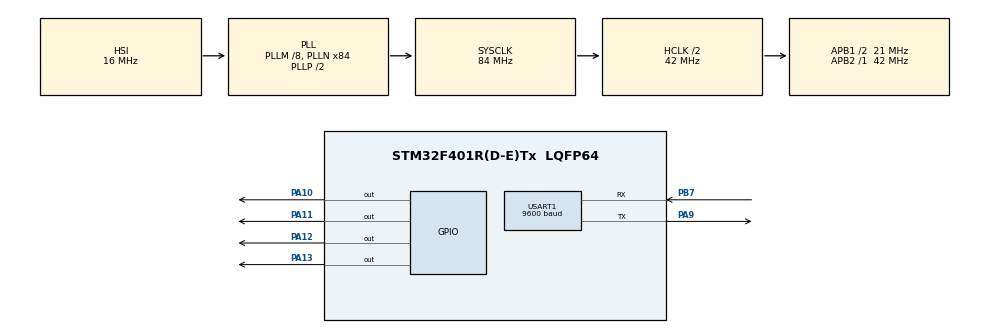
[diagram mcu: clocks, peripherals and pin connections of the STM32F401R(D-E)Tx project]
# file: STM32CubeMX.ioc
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Mcu.Family=STM32F4
Mcu.Name=STM32F401R(D-E)Tx
Mcu.Package=LQFP64
NVIC.PriorityGroup=NVIC_PRIORITYGROUP_4
PA10.Signal=GPIO_Output
PA11.Signal=GPIO_Output
PA12.Signal=GPIO_Output
PA13.Signal=GPIO_Output
PA2.Signal=USART2_TX
PA3.Signal=USART2_RX
PA9.Mode=Asynchronous
PA9.Signal=USART1_TX
PB7.Mode=Asynchronous
PB7.Signal=USART1_RX
ProjectManager.HeapSize=0x200
ProjectManager.StackSize=0x400
ProjectManager.TargetToolchain=MDK-ARM V5
RCC.48MHZClocksFreq_Value=42000000
RCC.AHBCLKDivider=RCC_SYSCLK_DIV2
RCC.AHBFreq_Value=42000000
RCC.APB1CLKDivider=RCC_HCLK_DIV2
RCC.APB1Freq_Value=21000000
RCC.APB1TimFreq_Value=42000000
RCC.APB2Freq_Value=42000000
RCC.APB2TimFreq_Value=42000000
RCC.CortexFreq_Value=42000000
RCC.HCLKFreq_Value=42000000
RCC.HSE_VALUE=25000000
RCC.HSI_VALUE=16000000
RCC.LSE_VALUE=32768
RCC.PLLM=8
RCC.PLLN=84
RCC.SYSCLKFreq_VALUE=84000000
RCC.SYSCLKSource=RCC_SYSCLKSOURCE_PLLCLK
RCC.VCOOutputFreq_Value=168000000
USART1.BaudRate=9600
USART1.VirtualMode=VM_ASYNC
board=custom

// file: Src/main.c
/* USER CODE BEGIN Header */
/**
  ******************************************************************************
  * @file           : main.c
  * @brief          : Main program body
  ******************************************************************************
  * @attention
  *
  * Copyright (c) 2024 STMicroelectronics.
  * All rights reserved.
  *
  * This software is licensed under terms that can be found in the LICENSE file
  * in the root directory of this software component.
  * If no LICENSE file comes with this software, it is provided AS-IS.
  *
  ******************************************************************************
  */
/* USER CODE END Header */
#include "main.h"

/* USER CODE BEGIN PM */
	uint8_t rx_data[3];

/* USER CODE END PM */

UART_HandleTypeDef huart1;

void SystemClock_Config(void);
static void MX_GPIO_Init(void);
static void MX_USART1_UART_Init(void);

int main(void)
{

  /* MCU Configuration--------------------------------------------------------*/

  /* Reset of all peripherals, Initializes the Flash interface and the Systick. */
  HAL_Init();

  /* Configure the system clock */
  SystemClock_Config();

  /* Initialize all configured peripherals */
  MX_GPIO_Init();
  MX_USART1_UART_Init();
  /* USER CODE BEGIN 2 */
	uint8_t received[1];
  /* USER CODE END 2 */

  /* Infinite loop */
  while (1)
  {

    /* USER CODE BEGIN 3 */
		HAL_UART_Receive(&huart1,received,1,10);
		if(received[0] == '0'){

			HAL_GPIO_WritePin(GPIOA,GPIO_PIN_10,GPIO_PIN_SET);
			HAL_GPIO_WritePin(GPIOA,GPIO_PIN_11,GPIO_PIN_SET);
			HAL_GPIO_WritePin(GPIOA,GPIO_PIN_12,GPIO_PIN_RESET);
			HAL_GPIO_WritePin(GPIOA,GPIO_PIN_13,GPIO_PIN_RESET);
  } else if(received[0] == '1') {
			HAL_GPIO_WritePin(GPIOA,GPIO_PIN_10,GPIO_PIN_RESET);
			HAL_GPIO_WritePin(GPIOA,GPIO_PIN_11,GPIO_PIN_RESET);
			HAL_GPIO_WritePin(GPIOA,GPIO_PIN_12,GPIO_PIN_RESET);
			HAL_GPIO_WritePin(GPIOA,GPIO_PIN_13,GPIO_PIN_RESET);

	}else if(received[0] == '2'){
		  HAL_GPIO_WritePin(GPIOA,GPIO_PIN_10,GPIO_PIN_SET);
			HAL_GPIO_WritePin(GPIOA,GPIO_PIN_11,GPIO_PIN_SET);
			HAL_GPIO_WritePin(GPIOA,GPIO_PIN_12,GPIO_PIN_SET);
			HAL_GPIO_WritePin(GPIOA,GPIO_PIN_13,GPIO_PIN_SET);

	}
	HAL_Delay(400);
  /* USER CODE END 3 */
}
}
void SystemClock_Config(void)
{
  RCC_OscInitTypeDef RCC_OscInitStruct = {0};
  RCC_ClkInitTypeDef RCC_ClkInitStruct = {0};

  /** Configure the main internal regulator output voltage
  */
  __HAL_RCC_PWR_CLK_ENABLE();
  __HAL_PWR_VOLTAGESCALING_CONFIG(PWR_REGULATOR_VOLTAGE_SCALE2);

  /** Initializes the RCC Oscillators according to the specified parameters
  * in the RCC_OscInitTypeDef structure.
  */
  RCC_OscInitStruct.OscillatorType = RCC_OSCILLATORTYPE_HSI;
  RCC_OscInitStruct.HSIState = RCC_HSI_ON;
  RCC_OscInitStruct.HSICalibrationValue = RCC_HSICALIBRATION_DEFAULT;
  RCC_OscInitStruct.PLL.PLLState = RCC_PLL_ON;
  RCC_OscInitStruct.PLL.PLLSource = RCC_PLLSOURCE_HSI;
  RCC_OscInitStruct.PLL.PLLM = 8;
  RCC_OscInitStruct.PLL.PLLN = 84;
  RCC_OscInitStruct.PLL.PLLP = RCC_PLLP_DIV2;
  RCC_OscInitStruct.PLL.PLLQ = 4;
  if (HAL_RCC_OscConfig(&RCC_OscInitStruct) != HAL_OK)
  {
    Error_Handler();
  }

  /** Initializes the CPU, AHB and APB buses clocks
  */
  RCC_ClkInitStruct.ClockType = RCC_CLOCKTYPE_HCLK|RCC_CLOCKTYPE_SYSCLK
                              |RCC_CLOCKTYPE_PCLK1|RCC_CLOCKTYPE_PCLK2;
  RCC_ClkInitStruct.SYSCLKSource = RCC_SYSCLKSOURCE_PLLCLK;
  RCC_ClkInitStruct.AHBCLKDivider = RCC_SYSCLK_DIV2;
  RCC_ClkInitStruct.APB1CLKDivider = RCC_HCLK_DIV2;
  RCC_ClkInitStruct.APB2CLKDivider = RCC_HCLK_DIV1;

  if (HAL_RCC_ClockConfig(&RCC_ClkInitStruct, FLASH_LATENCY_1) != HAL_OK)
  {
    Error_Handler();
  }
}

static void MX_USART1_UART_Init(void)
{

  huart1.Instance = USART1;
  huart1.Init.BaudRate = 9600;
  huart1.Init.WordLength = UART_WORDLENGTH_8B;
  huart1.Init.StopBits = UART_STOPBITS_1;
  huart1.Init.Parity = UART_PARITY_NONE;
  huart1.Init.Mode = UART_MODE_TX_RX;
  huart1.Init.HwFlowCtl = UART_HWCONTROL_NONE;
  huart1.Init.OverSampling = UART_OVERSAMPLING_16;
  if (HAL_UART_Init(&huart1) != HAL_OK)
  {
    Error_Handler();
  }

}

static void MX_GPIO_Init(void)
{
  GPIO_InitTypeDef GPIO_InitStruct = {0};

  /* GPIO Ports Clock Enable */
  __HAL_RCC_GPIOA_CLK_ENABLE();
  __HAL_RCC_GPIOB_CLK_ENABLE();

  /*Configure GPIO pin Output Level */
  HAL_GPIO_WritePin(GPIOA, GPIO_PIN_10|GPIO_PIN_11|GPIO_PIN_12|GPIO_PIN_13, GPIO_PIN_RESET);

  /*Configure GPIO pins : PA2 PA3 */
  GPIO_InitStruct.Pin = GPIO_PIN_2|GPIO_PIN_3;
  GPIO_InitStruct.Mode = GPIO_MODE_AF_PP;
  GPIO_InitStruct.Pull = GPIO_NOPULL;
  GPIO_InitStruct.Speed = GPIO_SPEED_FREQ_VERY_HIGH;
  GPIO_InitStruct.Alternate = GPIO_AF7_USART2;
  HAL_GPIO_Init(GPIOA, &GPIO_InitStruct);

  /*Configure GPIO pins : PA10 PA11 PA12 PA13 */
  GPIO_InitStruct.Pin = GPIO_PIN_10|GPIO_PIN_11|GPIO_PIN_12|GPIO_PIN_13;
  GPIO_InitStruct.Mode = GPIO_MODE_OUTPUT_PP;
  GPIO_InitStruct.Pull = GPIO_NOPULL;
  GPIO_InitStruct.Speed = GPIO_SPEED_FREQ_LOW;
  HAL_GPIO_Init(GPIOA, &GPIO_InitStruct);

}

void Error_Handler(void)
{
  __disable_irq();
  while (1)
  {
  }
}
